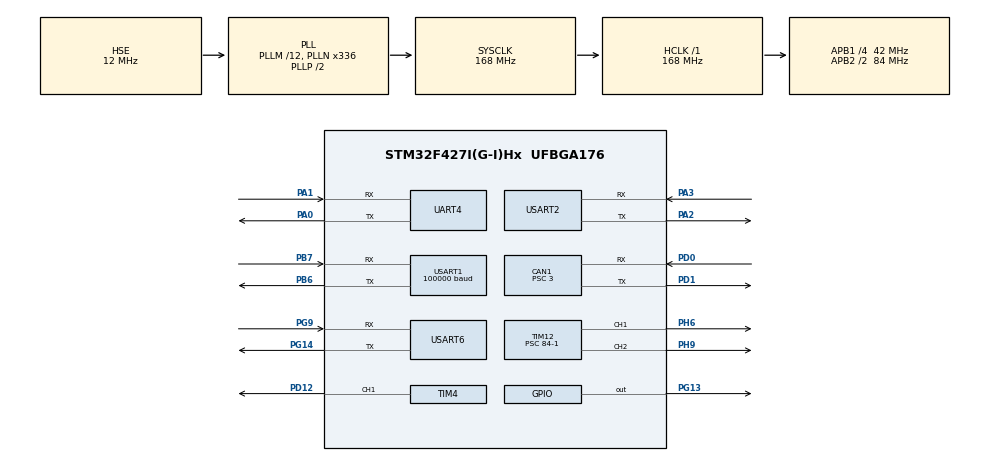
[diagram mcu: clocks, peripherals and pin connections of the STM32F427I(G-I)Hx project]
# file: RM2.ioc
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CAN1.BS1=CAN_BS1_9TQ
CAN1.BS2=CAN_BS2_4TQ
CAN1.CalculateTimeBit=1000
CAN1.CalculateTimeQuantum=71.42857142857143
CAN1.Prescaler=3
CAN1.RFLM=DISABLE
CAN1.TTCM=ENABLE
CAN1.TXFP=ENABLE
Dma.Request0=USART1_RX
Dma.USART1_RX.0.Direction=DMA_PERIPH_TO_MEMORY
Dma.USART1_RX.0.FIFOMode=DMA_FIFOMODE_DISABLE
Dma.USART1_RX.0.Instance=DMA2_Stream2
Dma.USART1_RX.0.MemDataAlignment=DMA_MDATAALIGN_BYTE
Dma.USART1_RX.0.MemInc=DMA_MINC_ENABLE
Dma.USART1_RX.0.Mode=DMA_CIRCULAR
Dma.USART1_RX.0.PeriphDataAlignment=DMA_PDATAALIGN_BYTE
Dma.USART1_RX.0.PeriphInc=DMA_PINC_DISABLE
Dma.USART1_RX.0.Priority=DMA_PRIORITY_VERY_HIGH
Mcu.Family=STM32F4
Mcu.Name=STM32F427I(G-I)Hx
Mcu.Package=UFBGA176
NVIC.CAN1_RX0_IRQn=true\:1\:0\:true\:false\:true\:true
NVIC.CAN1_TX_IRQn=true\:0\:0\:false\:false\:true\:true
NVIC.DMA2_Stream2_IRQn=true\:0\:0\:false\:true\:true\:1\:false
NVIC.PriorityGroup=NVIC_PRIORITYGROUP_4
NVIC.TIM6_DAC_IRQn=true\:2\:0\:true\:true\:true\:2\:true
NVIC.UART4_IRQn=true\:5\:0\:true\:false\:true\:true
NVIC.USART2_IRQn=true\:1\:0\:true\:false\:true\:true
NVIC.USART6_IRQn=true\:4\:0\:true\:true\:true\:3\:true
PA0/WKUP.Mode=Asynchronous
PA0/WKUP.Signal=UART4_TX
PA1.Mode=Asynchronous
PA1.Signal=UART4_RX
PA2.GPIO_PuPd=GPIO_PULLDOWN
PA2.Mode=Multiprocessor_communication
PA2.Signal=USART2_TX
PA3.GPIO_PuPd=GPIO_NOPULL
PA3.Mode=Multiprocessor_communication
PA3.Signal=USART2_RX
PB6.Mode=Multiprocessor_communication
PB6.Signal=USART1_TX
PB7.Mode=Multiprocessor_communication
PB7.Signal=USART1_RX
PD0.Mode=Master
PD0.Signal=CAN1_RX
PD1.Mode=Master
PD1.Signal=CAN1_TX
PD12.Signal=S_TIM4_CH1
PG13.Signal=GPIO_Output
PG14.Mode=Multiprocessor_communication
PG14.Signal=USART6_TX
PG9.Mode=Multiprocessor_communication
PG9.Signal=USART6_RX
PH0/OSC_IN.Mode=HSE-External-Oscillator
PH0/OSC_IN.Signal=RCC_OSC_IN
PH1/OSC_OUT.Mode=HSE-External-Oscillator
PH1/OSC_OUT.Signal=RCC_OSC_OUT
PH6.Signal=S_TIM12_CH1
PH9.Signal=S_TIM12_CH2
ProjectManager.HeapSize=0x200
ProjectManager.StackSize=0x400
ProjectManager.TargetToolchain=EWARM
RCC.48MHZClocksFreq_Value=84000000
RCC.AHBFreq_Value=168000000
RCC.APB1CLKDivider=RCC_HCLK_DIV4
RCC.APB1Freq_Value=42000000
RCC.APB1TimFreq_Value=84000000
RCC.APB2CLKDivider=RCC_HCLK_DIV2
RCC.APB2Freq_Value=84000000
RCC.APB2TimFreq_Value=168000000
RCC.CortexFreq_Value=168000000
RCC.HCLKFreq_Value=168000000
RCC.HSE_VALUE=12000000
RCC.HSI_VALUE=16000000
RCC.LSE_VALUE=32768
RCC.PLLM=12
RCC.PLLN=336
RCC.PLLSourceVirtual=RCC_PLLSOURCE_HSE
RCC.SYSCLKFreq_VALUE=168000000
RCC.SYSCLKSource=RCC_SYSCLKSOURCE_PLLCLK
RCC.VCOOutputFreq_Value=336000000
SH.S_TIM12_CH1.0=TIM12_CH1,PWM Generation1 CH1
SH.S_TIM12_CH2.0=TIM12_CH2,PWM Generation2 CH2
SH.S_TIM4_CH1.0=TIM4_CH1,PWM Generation1 CH1
TIM12.Channel-PWM\ Generation1\ CH1=TIM_CHANNEL_1
TIM12.Channel-PWM\ Generation2\ CH2=TIM_CHANNEL_2
TIM12.Period=2500-1
TIM12.Prescaler=84-1
TIM12.Pulse-PWM\ Generation1\ CH1=1000
TIM12.Pulse-PWM\ Generation2\ CH2=1000
TIM4.Channel-PWM\ Generation1\ CH1=TIM_CHANNEL_1
TIM4.Period=2000-1
TIM4.Prescaler=84-1
TIM4.Pulse-PWM\ Generation1\ CH1=500
TIM6.Period=2000-1
TIM6.Prescaler=84-1
UART4.VirtualMode=Asynchronous
USART1.BaudRate=100000
USART1.VirtualMode=VM_ASYNC
USART2.VirtualMode=VM_ASYNC
USART6.VirtualMode=VM_ASYNC
VP_TIM12_VS_ClockSourceINT.Mode=Internal
VP_TIM4_VS_ClockSourceINT.Mode=Internal
VP_TIM6_VS_ClockSourceINT.Mode=Enable_Timer
board=custom

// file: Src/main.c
/**
  ******************************************************************************
  * @file           : main.c
  * @brief          : Main program body
  ******************************************************************************
  ** This notice applies to any and all portions of this file
  * that are not between comment pairs USER CODE BEGIN and
  * USER CODE END. Other portions of this file, whether
  * inserted by the user or by software development tools
  * are owned by their respective copyright owners.
  *
  * COPYRIGHT(c) 2018 STMicroelectronics
  *
  * Redistribution and use in source and binary forms, with or without modification,
  * are permitted provided that the following conditions are met:
  *   1. Redistributions of source code must retain the above copyright notice,
  *      this list of conditions and the following disclaimer.
  *   2. Redistributions in binary form must reproduce the above copyright notice,
  *      this list of conditions and the following disclaimer in the documentation
  *      and/or other materials provided with the distribution.
  *   3. Neither the name of STMicroelectronics nor the names of its contributors
  *      may be used to endorse or promote products derived from this software
  *      without specific prior written permission.
  *
  * THIS SOFTWARE IS PROVIDED BY THE COPYRIGHT HOLDERS AND CONTRIBUTORS "AS IS"
  * AND ANY EXPRESS OR IMPLIED WARRANTIES, INCLUDING, BUT NOT LIMITED TO, THE
  * IMPLIED WARRANTIES OF MERCHANTABILITY AND FITNESS FOR A PARTICULAR PURPOSE ARE
  * DISCLAIMED. IN NO EVENT SHALL THE COPYRIGHT HOLDER OR CONTRIBUTORS BE LIABLE
  * FOR ANY DIRECT, INDIRECT, INCIDENTAL, SPECIAL, EXEMPLARY, OR CONSEQUENTIAL
  * DAMAGES (INCLUDING, BUT NOT LIMITED TO, PROCUREMENT OF SUBSTITUTE GOODS OR
  * SERVICES; LOSS OF USE, DATA, OR PROFITS; OR BUSINESS INTERRUPTION) HOWEVER
  * CAUSED AND ON ANY THEORY OF LIABILITY, WHETHER IN CONTRACT, STRICT LIABILITY,
  * OR TORT (INCLUDING NEGLIGENCE OR OTHERWISE) ARISING IN ANY WAY OUT OF THE USE
  * OF THIS SOFTWARE, EVEN IF ADVISED OF THE POSSIBILITY OF SUCH DAMAGE.
  *
  ******************************************************************************
  */
#include "main.h"
#include "stm32f4xx_hal.h"

/* USER CODE BEGIN Includes */
#include "control.h"
#include "can.h"
#include "32mpu6050.h"
#include "my_usart.h"
/* USER CODE END Includes */

CAN_HandleTypeDef hcan1;

TIM_HandleTypeDef htim4;
TIM_HandleTypeDef htim6;
TIM_HandleTypeDef htim12;

UART_HandleTypeDef huart4;
UART_HandleTypeDef huart1;
UART_HandleTypeDef huart2;
UART_HandleTypeDef huart6;
DMA_HandleTypeDef hdma_usart1_rx;

/* USER CODE BEGIN PV */
/* Private variables ---------------------------------------------------------*/

/* USER CODE END PV */

void SystemClock_Config(void);
static void MX_GPIO_Init(void);
static void MX_DMA_Init(void);
static void MX_CAN1_Init(void);
static void MX_TIM4_Init(void);
static void MX_TIM6_Init(void);
static void MX_TIM12_Init(void);
static void MX_UART4_Init(void);
static void MX_USART1_UART_Init(void);
static void MX_USART6_UART_Init(void);
static void MX_USART2_UART_Init(void);
static void MX_NVIC_Init(void);

void HAL_TIM_MspPostInit(TIM_HandleTypeDef *htim);

/* USER CODE BEGIN PFP */
/* Private function prototypes -----------------------------------------------*/

/* USER CODE END PFP */

int main(void)
{
  /* USER CODE BEGIN 1 */
	int16_t  output[3];
	para_init();

  /* USER CODE END 1 */

  /* MCU Configuration----------------------------------------------------------*/

  /* Reset of all peripherals, Initializes the Flash interface and the Systick. */
  HAL_Init();

  /* Configure the system clock */
  SystemClock_Config();

  /* USER CODE BEGIN SysInit */

	/**TIM：舵机**	TIM6：控制定时器**	TIM12：摩擦轮**		uart4：调试**
		usart1：遥控器***	usart2：上位机***	usart裁判系统*/
  /* USER CODE END SysInit */

  /* Initialize all configured peripherals */
  MX_GPIO_Init();
  MX_DMA_Init();
  MX_CAN1_Init();
  MX_TIM4_Init();
  MX_TIM6_Init();
  MX_TIM12_Init();
  MX_UART4_Init();
  MX_USART1_UART_Init();
  MX_USART6_UART_Init();
  MX_USART2_UART_Init();

  /* Initialize interrupts */
  MX_NVIC_Init();
  /* USER CODE BEGIN 2 */

	HAL_UART_Receive_DMA(&huart1,teledata_rx,sizeof(teledata_rx));				//遥控器接收数据通过DMA中断存入teledata
	HAL_TIM_Base_Start_IT(&htim6);												//定时器中断打开
	CAN1_Init();																//can初始化
	MPU6050_Init();																//陀螺仪初始化
	Gyro_OFFEST();																//陀螺仪校准

	HAL_UART_Receive_IT(&huart2, camera.recieve,sizeof(camera.recieve));		//开启视觉数据接收中断
	HAL_UART_Receive_IT(&huart4, &rxPID.pidReadBuf, 1);							//pid调节参数接收中断
	HAL_UART_Receive_IT(&huart6, judge.recieve,sizeof(judge.recieve));			//开启裁判系统接收中断
	HAL_TIM_PWM_Start(&htim12,TIM_CHANNEL_1);
	HAL_TIM_PWM_Start(&htim12,TIM_CHANNEL_2);
//	TIM12->CCR1=800;TIM12->CCR2=800;
//	HAL_Delay(2000);
//	HAL_Delay(2000);
//	HAL_Delay(2000);
//	HAL_Delay(2000);
//	TIM12->CCR1=1640;TIM12->CCR2=1640;

	rxPID.pidAdjust = &(cloud_pitch_position_pid);

  /* USER CODE END 2 */

  /* Infinite loop */
  while (1)
  {

  /* USER CODE BEGIN 3 */
	//get_mpu_data();											//主函数获取陀螺仪数据

	output[0]=cloud_para[1].Bmechanical_angle-yaw;
	output[1]=cloud_para[1].Bmechanical_angle;
	output[2]=yaw;

	sendware(output,sizeof(output)); 									//调试用的串口输出
	HAL_Delay(100);

  }
  /* USER CODE END 3 */

}

void SystemClock_Config(void)
{

  RCC_OscInitTypeDef RCC_OscInitStruct;
  RCC_ClkInitTypeDef RCC_ClkInitStruct;

    /**Configure the main internal regulator output voltage
    */
  __HAL_RCC_PWR_CLK_ENABLE();

  __HAL_PWR_VOLTAGESCALING_CONFIG(PWR_REGULATOR_VOLTAGE_SCALE1);

    /**Initializes the CPU, AHB and APB busses clocks
    */
  RCC_OscInitStruct.OscillatorType = RCC_OSCILLATORTYPE_HSE;
  RCC_OscInitStruct.HSEState = RCC_HSE_ON;
  RCC_OscInitStruct.PLL.PLLState = RCC_PLL_ON;
  RCC_OscInitStruct.PLL.PLLSource = RCC_PLLSOURCE_HSE;
  RCC_OscInitStruct.PLL.PLLM = 12;
  RCC_OscInitStruct.PLL.PLLN = 336;
  RCC_OscInitStruct.PLL.PLLP = RCC_PLLP_DIV2;
  RCC_OscInitStruct.PLL.PLLQ = 4;
  if (HAL_RCC_OscConfig(&RCC_OscInitStruct) != HAL_OK)
  {
    _Error_Handler(__FILE__, __LINE__);
  }

    /**Initializes the CPU, AHB and APB busses clocks
    */
  RCC_ClkInitStruct.ClockType = RCC_CLOCKTYPE_HCLK|RCC_CLOCKTYPE_SYSCLK
                              |RCC_CLOCKTYPE_PCLK1|RCC_CLOCKTYPE_PCLK2;
  RCC_ClkInitStruct.SYSCLKSource = RCC_SYSCLKSOURCE_PLLCLK;
  RCC_ClkInitStruct.AHBCLKDivider = RCC_SYSCLK_DIV1;
  RCC_ClkInitStruct.APB1CLKDivider = RCC_HCLK_DIV4;
  RCC_ClkInitStruct.APB2CLKDivider = RCC_HCLK_DIV2;

  if (HAL_RCC_ClockConfig(&RCC_ClkInitStruct, FLASH_LATENCY_5) != HAL_OK)
  {
    _Error_Handler(__FILE__, __LINE__);
  }

    /**Configure the Systick interrupt time
    */
  HAL_SYSTICK_Config(HAL_RCC_GetHCLKFreq()/1000);

    /**Configure the Systick
    */
  HAL_SYSTICK_CLKSourceConfig(SYSTICK_CLKSOURCE_HCLK);

  /* SysTick_IRQn interrupt configuration */
  HAL_NVIC_SetPriority(SysTick_IRQn, 0, 0);
}

/**
  * @brief NVIC Configuration.
  * @retval None
  */
static void MX_NVIC_Init(void)
{
  /* DMA2_Stream2_IRQn interrupt configuration */
  HAL_NVIC_SetPriority(DMA2_Stream2_IRQn, 0, 0);
  HAL_NVIC_EnableIRQ(DMA2_Stream2_IRQn);
  /* TIM6_DAC_IRQn interrupt configuration */
  HAL_NVIC_SetPriority(TIM6_DAC_IRQn, 2, 0);
  HAL_NVIC_EnableIRQ(TIM6_DAC_IRQn);
  /* USART6_IRQn interrupt configuration */
  HAL_NVIC_SetPriority(USART6_IRQn, 4, 0);
  HAL_NVIC_EnableIRQ(USART6_IRQn);
}

/* CAN1 init function */
static void MX_CAN1_Init(void)
{

  hcan1.Instance = CAN1;
  hcan1.Init.Prescaler = 3;
  hcan1.Init.Mode = CAN_MODE_NORMAL;
  hcan1.Init.SyncJumpWidth = CAN_SJW_1TQ;
  hcan1.Init.TimeSeg1 = CAN_BS1_9TQ;
  hcan1.Init.TimeSeg2 = CAN_BS2_4TQ;
  hcan1.Init.TimeTriggeredMode = ENABLE;
  hcan1.Init.AutoBusOff = DISABLE;
  hcan1.Init.AutoWakeUp = DISABLE;
  hcan1.Init.AutoRetransmission = DISABLE;
  hcan1.Init.ReceiveFifoLocked = DISABLE;
  hcan1.Init.TransmitFifoPriority = ENABLE;
  if (HAL_CAN_Init(&hcan1) != HAL_OK)
  {
    _Error_Handler(__FILE__, __LINE__);
  }

}

/* TIM4 init function */
static void MX_TIM4_Init(void)
{

  TIM_ClockConfigTypeDef sClockSourceConfig;
  TIM_MasterConfigTypeDef sMasterConfig;
  TIM_OC_InitTypeDef sConfigOC;

  htim4.Instance = TIM4;
  htim4.Init.Prescaler = 84-1;
  htim4.Init.CounterMode = TIM_COUNTERMODE_UP;
  htim4.Init.Period = 2000-1;
  htim4.Init.ClockDivision = TIM_CLOCKDIVISION_DIV1;
  if (HAL_TIM_Base_Init(&htim4) != HAL_OK)
  {
    _Error_Handler(__FILE__, __LINE__);
  }

  sClockSourceConfig.ClockSource = TIM_CLOCKSOURCE_INTERNAL;
  if (HAL_TIM_ConfigClockSource(&htim4, &sClockSourceConfig) != HAL_OK)
  {
    _Error_Handler(__FILE__, __LINE__);
  }

  if (HAL_TIM_PWM_Init(&htim4) != HAL_OK)
  {
    _Error_Handler(__FILE__, __LINE__);
  }

  sMasterConfig.MasterOutputTrigger = TIM_TRGO_RESET;
  sMasterConfig.MasterSlaveMode = TIM_MASTERSLAVEMODE_DISABLE;
  if (HAL_TIMEx_MasterConfigSynchronization(&htim4, &sMasterConfig) != HAL_OK)
  {
    _Error_Handler(__FILE__, __LINE__);
  }

  sConfigOC.OCMode = TIM_OCMODE_PWM1;
  sConfigOC.Pulse = 500;
  sConfigOC.OCPolarity = TIM_OCPOLARITY_HIGH;
  sConfigOC.OCFastMode = TIM_OCFAST_DISABLE;
  if (HAL_TIM_PWM_ConfigChannel(&htim4, &sConfigOC, TIM_CHANNEL_1) != HAL_OK)
  {
    _Error_Handler(__FILE__, __LINE__);
  }

  HAL_TIM_MspPostInit(&htim4);

}

/* TIM6 init function */
static void MX_TIM6_Init(void)
{

  TIM_MasterConfigTypeDef sMasterConfig;

  htim6.Instance = TIM6;
  htim6.Init.Prescaler = 84-1;
  htim6.Init.CounterMode = TIM_COUNTERMODE_UP;
  htim6.Init.Period = 2000-1;
  if (HAL_TIM_Base_Init(&htim6) != HAL_OK)
  {
    _Error_Handler(__FILE__, __LINE__);
  }

  sMasterConfig.MasterOutputTrigger = TIM_TRGO_RESET;
  sMasterConfig.MasterSlaveMode = TIM_MASTERSLAVEMODE_DISABLE;
  if (HAL_TIMEx_MasterConfigSynchronization(&htim6, &sMasterConfig) != HAL_OK)
  {
    _Error_Handler(__FILE__, __LINE__);
  }

}

/* TIM12 init function */
static void MX_TIM12_Init(void)
{

  TIM_ClockConfigTypeDef sClockSourceConfig;
  TIM_OC_InitTypeDef sConfigOC;

  htim12.Instance = TIM12;
  htim12.Init.Prescaler = 84-1;
  htim12.Init.CounterMode = TIM_COUNTERMODE_UP;
  htim12.Init.Period = 2500-1;
  htim12.Init.ClockDivision = TIM_CLOCKDIVISION_DIV1;
  if (HAL_TIM_Base_Init(&htim12) != HAL_OK)
  {
    _Error_Handler(__FILE__, __LINE__);
  }

  sClockSourceConfig.ClockSource = TIM_CLOCKSOURCE_INTERNAL;
  if (HAL_TIM_ConfigClockSource(&htim12, &sClockSourceConfig) != HAL_OK)
  {
    _Error_Handler(__FILE__, __LINE__);
  }

  if (HAL_TIM_PWM_Init(&htim12) != HAL_OK)
  {
    _Error_Handler(__FILE__, __LINE__);
  }

  sConfigOC.OCMode = TIM_OCMODE_PWM1;
  sConfigOC.Pulse = 1000;
  sConfigOC.OCPolarity = TIM_OCPOLARITY_HIGH;
  sConfigOC.OCFastMode = TIM_OCFAST_DISABLE;
  if (HAL_TIM_PWM_ConfigChannel(&htim12, &sConfigOC, TIM_CHANNEL_1) != HAL_OK)
  {
    _Error_Handler(__FILE__, __LINE__);
  }

  if (HAL_TIM_PWM_ConfigChannel(&htim12, &sConfigOC, TIM_CHANNEL_2) != HAL_OK)
  {
    _Error_Handler(__FILE__, __LINE__);
  }

  HAL_TIM_MspPostInit(&htim12);

}

/* UART4 init function */
static void MX_UART4_Init(void)
{

  huart4.Instance = UART4;
  huart4.Init.BaudRate = 9600;
  huart4.Init.WordLength = UART_WORDLENGTH_8B;
  huart4.Init.StopBits = UART_STOPBITS_1;
  huart4.Init.Parity = UART_PARITY_NONE;
  huart4.Init.Mode = UART_MODE_TX_RX;
  huart4.Init.HwFlowCtl = UART_HWCONTROL_NONE;
  huart4.Init.OverSampling = UART_OVERSAMPLING_16;
  if (HAL_UART_Init(&huart4) != HAL_OK)
  {
    _Error_Handler(__FILE__, __LINE__);
  }

}

/* USART1 init function */
static void MX_USART1_UART_Init(void)
{

  huart1.Instance = USART1;
  huart1.Init.BaudRate = 100000;
  huart1.Init.WordLength = UART_WORDLENGTH_8B;
  huart1.Init.StopBits = UART_STOPBITS_1;
  huart1.Init.Parity = UART_PARITY_NONE;
  huart1.Init.Mode = UART_MODE_TX_RX;
  huart1.Init.HwFlowCtl = UART_HWCONTROL_NONE;
  huart1.Init.OverSampling = UART_OVERSAMPLING_16;
  if (HAL_MultiProcessor_Init(&huart1, 0, UART_WAKEUPMETHOD_IDLELINE) != HAL_OK)
  {
    _Error_Handler(__FILE__, __LINE__);
  }

}

/* USART2 init function */
static void MX_USART2_UART_Init(void)
{

  huart2.Instance = USART2;
  huart2.Init.BaudRate = 9600;
  huart2.Init.WordLength = UART_WORDLENGTH_8B;
  huart2.Init.StopBits = UART_STOPBITS_1;
  huart2.Init.Parity = UART_PARITY_NONE;
  huart2.Init.Mode = UART_MODE_TX_RX;
  huart2.Init.HwFlowCtl = UART_HWCONTROL_NONE;
  huart2.Init.OverSampling = UART_OVERSAMPLING_16;
  if (HAL_MultiProcessor_Init(&huart2, 0, UART_WAKEUPMETHOD_IDLELINE) != HAL_OK)
  {
    _Error_Handler(__FILE__, __LINE__);
  }

}

/* USART6 init function */
static void MX_USART6_UART_Init(void)
{

  huart6.Instance = USART6;
  huart6.Init.BaudRate = 115200;
  huart6.Init.WordLength = UART_WORDLENGTH_8B;
  huart6.Init.StopBits = UART_STOPBITS_1;
  huart6.Init.Parity = UART_PARITY_NONE;
  huart6.Init.Mode = UART_MODE_TX_RX;
  huart6.Init.HwFlowCtl = UART_HWCONTROL_NONE;
  huart6.Init.OverSampling = UART_OVERSAMPLING_16;
  if (HAL_MultiProcessor_Init(&huart6, 0, UART_WAKEUPMETHOD_IDLELINE) != HAL_OK)
  {
    _Error_Handler(__FILE__, __LINE__);
  }

}

static void MX_DMA_Init(void)
{
  /* DMA controller clock enable */
  __HAL_RCC_DMA2_CLK_ENABLE();

}

/** Configure pins as
        * Analog
        * Input
        * Output
        * EVENT_OUT
        * EXTI
*/
static void MX_GPIO_Init(void)
{

  GPIO_InitTypeDef GPIO_InitStruct;

  /* GPIO Ports Clock Enable */
  __HAL_RCC_GPIOG_CLK_ENABLE();
  __HAL_RCC_GPIOB_CLK_ENABLE();
  __HAL_RCC_GPIOD_CLK_ENABLE();
  __HAL_RCC_GPIOH_CLK_ENABLE();
  __HAL_RCC_GPIOA_CLK_ENABLE();

  /*Configure GPIO pin Output Level */
  HAL_GPIO_WritePin(GPIOG, GPIO_PIN_13, GPIO_PIN_RESET);

  /*Configure GPIO pin : PG13 */
  GPIO_InitStruct.Pin = GPIO_PIN_13;
  GPIO_InitStruct.Mode = GPIO_MODE_OUTPUT_PP;
  GPIO_InitStruct.Pull = GPIO_NOPULL;
  GPIO_InitStruct.Speed = GPIO_SPEED_FREQ_LOW;
  HAL_GPIO_Init(GPIOG, &GPIO_InitStruct);

}

void _Error_Handler(char *file, int line)
{
  while(1)
  {
  }
}

/************************ (C) COPYRIGHT STMicroelectronics *****END OF FILE****/
